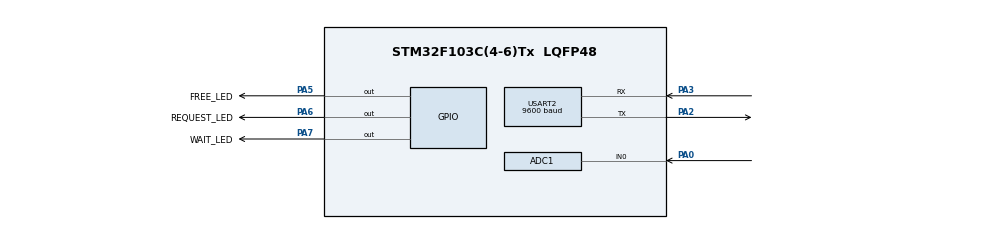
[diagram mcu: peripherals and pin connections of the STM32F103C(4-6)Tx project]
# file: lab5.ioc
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ADC1.Channel-1\#ChannelRegularConversion=ADC_CHANNEL_0
ADC1.ContinuousConvMode=ENABLE
ADC1.NbrOfConversionFlag=1
ADC1.Rank-1\#ChannelRegularConversion=1
ADC1.SamplingTime-1\#ChannelRegularConversion=ADC_SAMPLETIME_1CYCLE_5
ADC1.master=1
Mcu.Family=STM32F1
Mcu.Name=STM32F103C(4-6)Tx
Mcu.Package=LQFP48
NVIC.PriorityGroup=NVIC_PRIORITYGROUP_4
NVIC.TIM2_IRQn=true\:0\:0\:false\:false\:true\:true\:true
NVIC.USART2_IRQn=true\:0\:0\:false\:false\:true\:true\:true
PA0-WKUP.Signal=ADCx_IN0
PA2.Mode=Asynchronous
PA2.Signal=USART2_TX
PA3.Mode=Asynchronous
PA3.Signal=USART2_RX
PA5.GPIO_Label=FREE_LED
PA5.Signal=GPIO_Output
PA6.GPIO_Label=REQUEST_LED
PA6.Signal=GPIO_Output
PA7.GPIO_Label=WAIT_LED
PA7.Signal=GPIO_Output
ProjectManager.HeapSize=0x200
ProjectManager.StackSize=0x400
ProjectManager.TargetToolchain=STM32CubeIDE
RCC.APB1Freq_Value=8000000
RCC.APB2Freq_Value=8000000
SH.ADCx_IN0.0=ADC1_IN0,IN0
TIM2.Period=200
TIM2.Prescaler=40000-1
USART2.BaudRate=9600
USART2.VirtualMode=VM_ASYNC
VP_SYS_VS_ND.Mode=No_Debug
VP_TIM2_VS_ClockSourceINT.Mode=Internal
board=custom

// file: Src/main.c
/* USER CODE BEGIN Header */
/**
  ******************************************************************************
  * @file           : main.c
  * @brief          : Main program body
  ******************************************************************************
  * @attention
  *
  * Copyright (c) 2021 STMicroelectronics.
  * All rights reserved.
  *
  * This software is licensed under terms that can be found in the LICENSE file
  * in the root directory of this software component.
  * If no LICENSE file comes with this software, it is provided AS-IS.
  *
  ******************************************************************************
  */
/* USER CODE END Header */
#include "main.h"

/* USER CODE BEGIN Includes */
#include <stdio.h>
#include <string.h>
#include "lab5_timer.h"
/* USER CODE END Includes */

ADC_HandleTypeDef hadc1;

TIM_HandleTypeDef htim2;

UART_HandleTypeDef huart2;

void SystemClock_Config(void);
static void MX_GPIO_Init(void);
static void MX_USART2_UART_Init(void);
static void MX_ADC1_Init(void);
static void MX_TIM2_Init(void);

/* USER CODE BEGIN 0 */
#define MAX_BUFFER_SIZE  30
enum State{FREE, REQUEST, WAIT, RESPONSE, NOT_RESEND, RESEND, START, END};
uint8_t state_request = FREE;
uint8_t pre_state_request = FREE;
uint8_t character_input = 0;
uint8_t buffer[MAX_BUFFER_SIZE];
uint8_t index_buffer = 0;
uint8_t buffer_flag = 0;
uint8_t prev_ADC_value = 0;
uint8_t timeout_flag = 0;

void HAL_UART_RxCpltCallback(UART_HandleTypeDef *huart) {
	if(huart->Instance == USART2) {
		buffer[index_buffer++] = character_input;
		if(index_buffer == MAX_BUFFER_SIZE) {
			index_buffer = 0;
		}
		buffer_flag = 1;
		HAL_UART_Receive_IT(&huart2, &character_input, 1);
	}
}

void send_ADC_data(uint8_t send_status) {
	if(send_status == NOT_RESEND) {
		uint8_t ADC_value = HAL_ADC_GetValue(&hadc1);
		prev_ADC_value = ADC_value;
	}
	char msg[20];
	HAL_UART_Transmit(&huart2, (void *)msg, sprintf(msg, "!ADC=%d#", prev_ADC_value), HAL_MAX_DELAY);
	// hien thi them thoi gian nhan duoc
	uint32_t time = HAL_GetTick()/1000;
	HAL_UART_Transmit(&huart2, (void *)msg, sprintf(msg, " -- time: %ld s\n\r", time), HAL_MAX_DELAY);
}

void set_timeout(uint8_t timeout_status) {
	if(timeout_status == START) {
		setTimer0(30);
	}
	timeout_flag = 0;
}

void command_parser_fsm() {
	char request_command[] = "!RST#";
	char response_command[] = "!OK#";
	uint8_t index = (index_buffer-2 >= 0) ? index_buffer-2 : MAX_BUFFER_SIZE-2;
	// kiem tra gia tri cua cac ky tu nhap vao co ky tu xuong duong va '#' hay khong
	if(buffer[index_buffer-1] == '\r' &&buffer[index] == '#') {
		switch (buffer[index-1]) {
		case 'T':
			state_request = REQUEST;
			for(int i = 2; i<5; i++) {
				if(buffer[index-i] != request_command[4-i]) {
					// neu chuoi vua nhan khong dung thi tra laij trang thai truoc do
					state_request = pre_state_request;
					break;
				}
			}
			break;
		case 'K':
			state_request = RESPONSE;
			for(int i = 2; i<4; i++) {
				if(buffer[index-i] != response_command[3-i]) {
					state_request = pre_state_request;
					break;
				}
			}
			break;
		default:
			break;
		}
	} else {
		return;
	}
}

void uart_communiation_fsm () {
	switch (state_request) {
	case FREE:
		// hien thi cac led de theo doi trang thai
		HAL_GPIO_WritePin(GPIOA, FREE_LED_Pin, 0);
		HAL_GPIO_WritePin(GPIOA, REQUEST_LED_Pin, 1);
		HAL_GPIO_WritePin(GPIOA, WAIT_LED_Pin, 1);
		break;
	case REQUEST:
		HAL_GPIO_WritePin(GPIOA, FREE_LED_Pin, 1);
		HAL_GPIO_WritePin(GPIOA, REQUEST_LED_Pin, 0);
		HAL_GPIO_WritePin(GPIOA, WAIT_LED_Pin, 1);
		send_ADC_data(NOT_RESEND);
		set_timeout(START);
		state_request = WAIT;
		break;
	case WAIT:
		HAL_GPIO_WritePin(GPIOA, FREE_LED_Pin, 1);
		HAL_GPIO_WritePin(GPIOA, REQUEST_LED_Pin, 1);
		HAL_GPIO_WritePin(GPIOA, WAIT_LED_Pin, 0);
		if(get_timer0_flag()){
			timeout_flag = 1;
		}
		if(timeout_flag){
			send_ADC_data(RESEND);
			set_timeout(START);
		}
		break;
	case RESPONSE:
		set_timeout(END);
		state_request = FREE;
		break;
	default:
		break;
	}
}
/* USER CODE END 0 */

int main(void)
{

  /* MCU Configuration--------------------------------------------------------*/

  /* Reset of all peripherals, Initializes the Flash interface and the Systick. */
  HAL_Init();

  /* Configure the system clock */
  SystemClock_Config();

  /* Initialize all configured peripherals */
  MX_GPIO_Init();
  MX_USART2_UART_Init();
  MX_ADC1_Init();
  MX_TIM2_Init();
  /* USER CODE BEGIN 2 */
  HAL_UART_Receive_IT(&huart2, &character_input, 1);
  HAL_TIM_Base_Start_IT(&htim2);
  HAL_ADC_Start(&hadc1);
  /* USER CODE END 2 */

  /* Infinite loop */
  while (1)
  {

    /* USER CODE BEGIN 3 */
	  if(buffer_flag == 1){
			  command_parser_fsm();
			  buffer_flag = 0;
		  }
	  uart_communiation_fsm();
  }
  /* USER CODE END 3 */
}

void SystemClock_Config(void)
{
  RCC_OscInitTypeDef RCC_OscInitStruct = {0};
  RCC_ClkInitTypeDef RCC_ClkInitStruct = {0};
  RCC_PeriphCLKInitTypeDef PeriphClkInit = {0};

  /** Initializes the RCC Oscillators according to the specified parameters
  * in the RCC_OscInitTypeDef structure.
  */
  RCC_OscInitStruct.OscillatorType = RCC_OSCILLATORTYPE_HSI;
  RCC_OscInitStruct.HSIState = RCC_HSI_ON;
  RCC_OscInitStruct.HSICalibrationValue = RCC_HSICALIBRATION_DEFAULT;
  RCC_OscInitStruct.PLL.PLLState = RCC_PLL_NONE;
  if (HAL_RCC_OscConfig(&RCC_OscInitStruct) != HAL_OK)
  {
    Error_Handler();
  }
  /** Initializes the CPU, AHB and APB buses clocks
  */
  RCC_ClkInitStruct.ClockType = RCC_CLOCKTYPE_HCLK|RCC_CLOCKTYPE_SYSCLK
                              |RCC_CLOCKTYPE_PCLK1|RCC_CLOCKTYPE_PCLK2;
  RCC_ClkInitStruct.SYSCLKSource = RCC_SYSCLKSOURCE_HSI;
  RCC_ClkInitStruct.AHBCLKDivider = RCC_SYSCLK_DIV1;
  RCC_ClkInitStruct.APB1CLKDivider = RCC_HCLK_DIV1;
  RCC_ClkInitStruct.APB2CLKDivider = RCC_HCLK_DIV1;

  if (HAL_RCC_ClockConfig(&RCC_ClkInitStruct, FLASH_LATENCY_0) != HAL_OK)
  {
    Error_Handler();
  }
  PeriphClkInit.PeriphClockSelection = RCC_PERIPHCLK_ADC;
  PeriphClkInit.AdcClockSelection = RCC_ADCPCLK2_DIV2;
  if (HAL_RCCEx_PeriphCLKConfig(&PeriphClkInit) != HAL_OK)
  {
    Error_Handler();
  }
}

static void MX_ADC1_Init(void)
{

  ADC_ChannelConfTypeDef sConfig = {0};

  /** Common config
  */
  hadc1.Instance = ADC1;
  hadc1.Init.ScanConvMode = ADC_SCAN_DISABLE;
  hadc1.Init.ContinuousConvMode = ENABLE;
  hadc1.Init.DiscontinuousConvMode = DISABLE;
  hadc1.Init.ExternalTrigConv = ADC_SOFTWARE_START;
  hadc1.Init.DataAlign = ADC_DATAALIGN_RIGHT;
  hadc1.Init.NbrOfConversion = 1;
  if (HAL_ADC_Init(&hadc1) != HAL_OK)
  {
    Error_Handler();
  }
  /** Configure Regular Channel
  */
  sConfig.Channel = ADC_CHANNEL_0;
  sConfig.Rank = ADC_REGULAR_RANK_1;
  sConfig.SamplingTime = ADC_SAMPLETIME_1CYCLE_5;
  if (HAL_ADC_ConfigChannel(&hadc1, &sConfig) != HAL_OK)
  {
    Error_Handler();
  }

}

static void MX_TIM2_Init(void)
{

  TIM_ClockConfigTypeDef sClockSourceConfig = {0};
  TIM_MasterConfigTypeDef sMasterConfig = {0};

  htim2.Instance = TIM2;
  htim2.Init.Prescaler = 40000-1;
  htim2.Init.CounterMode = TIM_COUNTERMODE_UP;
  htim2.Init.Period = 200;
  htim2.Init.ClockDivision = TIM_CLOCKDIVISION_DIV1;
  htim2.Init.AutoReloadPreload = TIM_AUTORELOAD_PRELOAD_DISABLE;
  if (HAL_TIM_Base_Init(&htim2) != HAL_OK)
  {
    Error_Handler();
  }
  sClockSourceConfig.ClockSource = TIM_CLOCKSOURCE_INTERNAL;
  if (HAL_TIM_ConfigClockSource(&htim2, &sClockSourceConfig) != HAL_OK)
  {
    Error_Handler();
  }
  sMasterConfig.MasterOutputTrigger = TIM_TRGO_RESET;
  sMasterConfig.MasterSlaveMode = TIM_MASTERSLAVEMODE_DISABLE;
  if (HAL_TIMEx_MasterConfigSynchronization(&htim2, &sMasterConfig) != HAL_OK)
  {
    Error_Handler();
  }

}

static void MX_USART2_UART_Init(void)
{

  huart2.Instance = USART2;
  huart2.Init.BaudRate = 9600;
  huart2.Init.WordLength = UART_WORDLENGTH_8B;
  huart2.Init.StopBits = UART_STOPBITS_1;
  huart2.Init.Parity = UART_PARITY_NONE;
  huart2.Init.Mode = UART_MODE_TX_RX;
  huart2.Init.HwFlowCtl = UART_HWCONTROL_NONE;
  huart2.Init.OverSampling = UART_OVERSAMPLING_16;
  if (HAL_UART_Init(&huart2) != HAL_OK)
  {
    Error_Handler();
  }

}

static void MX_GPIO_Init(void)
{
  GPIO_InitTypeDef GPIO_InitStruct = {0};

  /* GPIO Ports Clock Enable */
  __HAL_RCC_GPIOA_CLK_ENABLE();

  /*Configure GPIO pin Output Level */
  HAL_GPIO_WritePin(GPIOA, FREE_LED_Pin|REQUEST_LED_Pin|WAIT_LED_Pin, GPIO_PIN_RESET);

  /*Configure GPIO pins : FREE_LED_Pin REQUEST_LED_Pin WAIT_LED_Pin */
  GPIO_InitStruct.Pin = FREE_LED_Pin|REQUEST_LED_Pin|WAIT_LED_Pin;
  GPIO_InitStruct.Mode = GPIO_MODE_OUTPUT_PP;
  GPIO_InitStruct.Pull = GPIO_NOPULL;
  GPIO_InitStruct.Speed = GPIO_SPEED_FREQ_LOW;
  HAL_GPIO_Init(GPIOA, &GPIO_InitStruct);

}

/* USER CODE BEGIN 4 */
void HAL_TIM_PeriodElapsedCallback(TIM_HandleTypeDef *htim) {
	if(htim->Instance == TIM2){
		timer0_run();
	}
}
/* USER CODE END 4 */

void Error_Handler(void)
{
  __disable_irq();
  while (1)
  {
  }
}
